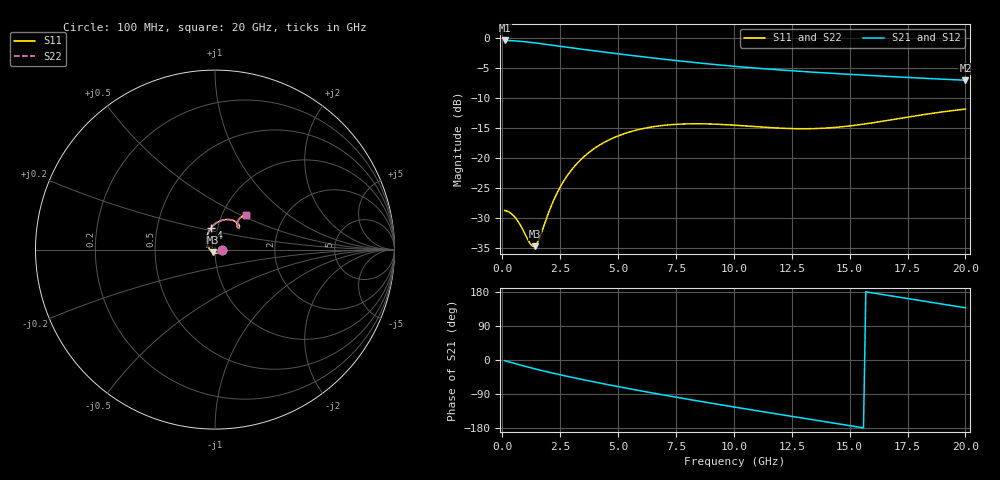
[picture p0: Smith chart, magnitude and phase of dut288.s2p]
! Created with skrf 1.9.0 (http://scikit-rf.org).
# GHz S RI R 50.0
!freq ReS11 ImS11 ReS21 ImS21 ReS12 ImS12 ReS22 ImS22
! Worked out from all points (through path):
!   200 points, 100 MHz to 20 GHz, reference 50 ohm
!   highest |S21| = -0.33 dB at 100 MHz (marker M1); lowest = -7.0 dB at 20 GHz (marker M2)
!   group delay of S21, straight-line fit = 29.5 ps
!   lowest |S11| = -34.7 dB at 1.4 GHz (marker M3), VSWR 1.04, Z = 49 - j1.5 ohm
!   |S11| at or under -10 dB: start of sweep to end of sweep
!   |S22| runs from -34.7 to -11.8 dB; largest |S21 - S12| = 2.1e-15
!   S11 on the Smith chart (normalised r, x): 100 MHz: 1.08, -0.01; 4 GHz: 0.93, +0.22; 20 GHz: 1.29, +0.53
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0.1  0.0364 -0.00305  0.9625 -0.0295  0.9625 -0.0295  0.0364 -0.00305
0.4  0.0319 -0.0125  0.9516 -0.1157  0.9516 -0.1157  0.0319 -0.0125
0.6  0.0259 -0.0173  0.938 -0.1708  0.938 -0.1708  0.0259 -0.0173
1.2  -0.000631 -0.0193  0.8728 -0.3195  0.8728 -0.3195  -0.000631 -0.0193
1.3  -0.00547 -0.0176  0.8592 -0.3414  0.8592 -0.3414  -0.00547 -0.0176
1.4  -0.0102 -0.0153  0.8451 -0.3624  0.8451 -0.3624  -0.0102 -0.0153
1.6  -0.0192 -0.00916  0.8155 -0.402  0.8155 -0.402  -0.0192 -0.00916
2.1  -0.0369 0.0135  0.7358 -0.4869  0.7358 -0.4869  -0.0369 0.0135
2.5  -0.0444 0.0362  0.6689 -0.5419  0.6689 -0.5419  -0.0444 0.0362
3  -0.0452 0.0663  0.5839 -0.5971  0.5839 -0.5971  -0.0452 0.0663
3.5  -0.0377 0.0946  0.4988 -0.6391  0.4988 -0.6391  -0.0377 0.0946
4  -0.0239 0.1191  0.4147 -0.6696  0.4147 -0.6696  -0.0239 0.1191
5.2  0.0223 0.1571  0.2212 -0.7027  0.2212 -0.7027  0.0223 0.1571
6.8  0.0833 0.1668  -0.00635 -0.6772  -0.00635 -0.6772  0.0833 0.1668
8.4  0.1218 0.1509  -0.1894 -0.5979  -0.1894 -0.5979  0.1218 0.1509
10.1  0.1361 0.1301  -0.3343 -0.4788  -0.3343 -0.4788  0.1361 0.1301
11.7  0.1332 0.1203  -0.4275 -0.3483  -0.4275 -0.3483  0.1332 0.1203
13.4  0.125 0.1247  -0.4838 -0.2  -0.4838 -0.2  0.125 0.1247
15  0.1217 0.1405  -0.4982 -0.0591  -0.4982 -0.0591  0.1217 0.1405
16.7  0.129 0.1627  -0.4742 0.0829  -0.4742 0.0829  0.129 0.1627
18.3  0.1464 0.181  -0.4187 0.2006  -0.4187 0.2006  0.1464 0.181
20  0.172 0.1911  -0.3316 0.3009  -0.3316 0.3009  0.172 0.1911
